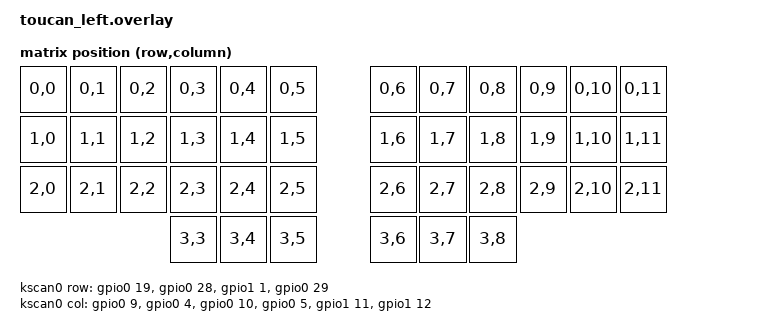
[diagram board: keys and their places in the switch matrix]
#include <input/processors.dtsi>
#include <dt-bindings/zmk/input_transform.h>
#include <dt-bindings/zmk/matrix_transform.h>

/*
 * 左半是 split central，觸控板的處理鏈跑在這裡。右半只負責把感測器的原始
 * 事件經 input-split 送過來（見 toucan_right.overlay 的 &glidepoint_split）。
 */
#include "toucan-trackpad.dtsi"

/*
 * physical_layout0 連同每顆鍵的實體座標。以前左半自己宣告一個沒有 keys 屬性
 * 的裸節點就夠了——它是 peripheral，不跑 Studio。左半改當 central 之後
 * Studio 跟著搬過來，而 Studio 有一條編譯期斷言：
 *   "ZMK Studio requires physical layouts with key positions"
 * （zmk/app/src/physical_layouts.c）。所以改成 include 這份完整的定義，
 * 跟 dongle 當年用的是同一份。
 */
#include "toucan-layouts.dtsi"

&pinctrl {
    spi0_default: spi0_default {
        group1 {
            psels = <NRF_PSEL(SPIM_SCK, 1, 13)>,
                <NRF_PSEL(SPIM_MOSI, 1, 15)>,
                <NRF_PSEL(SPIM_MISO, 1, 14)>;
        };
    };

     spi0_sleep: spi0_sleep {
        group1 {
            psels = <NRF_PSEL(SPIM_SCK, 1, 13)>,
                    <NRF_PSEL(SPIM_MOSI, 1, 15)>,
                    <NRF_PSEL(SPIM_MISO, 1, 14)>;
            low-power-enable;
        };
    };

};

nice_view_spi: &spi0 {
   compatible = "nordic,nrf-spim";
   pinctrl-0 = <&spi0_default>;
   pinctrl-1 = <&spi0_sleep>;
   pinctrl-names = "default", "sleep";
   cs-gpios = <&gpio0 3 GPIO_ACTIVE_HIGH>;
};

&xiao_i2c {
    status = "disabled";
};

/ {
    chosen {
        zmk,kscan = &kscan0;
        zmk,physical-layout = &physical_layout0;
    };

    kscan0: kscan_0 {
        compatible = "zmk,kscan-gpio-matrix";
        diode-direction = "col2row";
        wakeup-source;

        col-gpios
        = <&gpio0 9 GPIO_ACTIVE_HIGH>
        , <&gpio0 4 GPIO_ACTIVE_HIGH>
        , <&gpio0 10 GPIO_ACTIVE_HIGH>
        , <&gpio0 5 GPIO_ACTIVE_HIGH>
        , <&gpio1 11 GPIO_ACTIVE_HIGH>
        , <&gpio1 12 GPIO_ACTIVE_HIGH>
        ;

        row-gpios
        = <&gpio0 19 (GPIO_ACTIVE_HIGH | GPIO_PULL_DOWN)>
        , <&gpio0 28 (GPIO_ACTIVE_HIGH | GPIO_PULL_DOWN)>
        , <&gpio1 1 (GPIO_ACTIVE_HIGH | GPIO_PULL_DOWN)>
        , <&gpio0 29 (GPIO_ACTIVE_HIGH | GPIO_PULL_DOWN)>
        ;
    };

    default_transform: keymap_transform_0 {
        compatible = "zmk,matrix-transform";
        columns = <12>;
        rows = <4>;
        // | SW1  | SW2  | SW3  | SW4  | SW5  | SW6  |   | SW6  | SW5  | SW4  | SW3  | SW2  | SW1  |
        // | SW7  | SW8  | SW9  | SW10 | SW11 | SW12 |   | SW12 | SW11 | SW10 | SW9  | SW8  | SW7  |
        // | SW13 | SW14 | SW15 | SW16 | SW17 | SW18 |   | SW18 | SW17 | SW16 | SW15 | SW14 | SW13 |
        //                      | SW19 | SW20 | SW21 |   | SW21 | SW20 | SW19 |
                map = < RC(0,0) RC(0,1) RC(0,2) RC(0,3) RC(0,4) RC(0,5)  RC(0,6) RC(0,7) RC(0,8) RC(0,9) RC(0,10) RC(0,11)
        RC(1,0) RC(1,1) RC(1,2) RC(1,3) RC(1,4) RC(1,5)  RC(1,6) RC(1,7) RC(1,8) RC(1,9) RC(1,10) RC(1,11)
        RC(2,0) RC(2,1) RC(2,2) RC(2,3) RC(2,4) RC(2,5)  RC(2,6) RC(2,7) RC(2,8) RC(2,9) RC(2,10) RC(2,11)
                                RC(3,3) RC(3,4) RC(3,5)  RC(3,6) RC(3,7) RC(3,8)
        >;
    };

};

/*
 * 只有 central 能跑 input listener——它要讀 layer 狀態才能分派三檔速度。
 * 右半那側這個節點維持 disabled。
 */
&glidepoint_listener {
    status = "okay";
};
